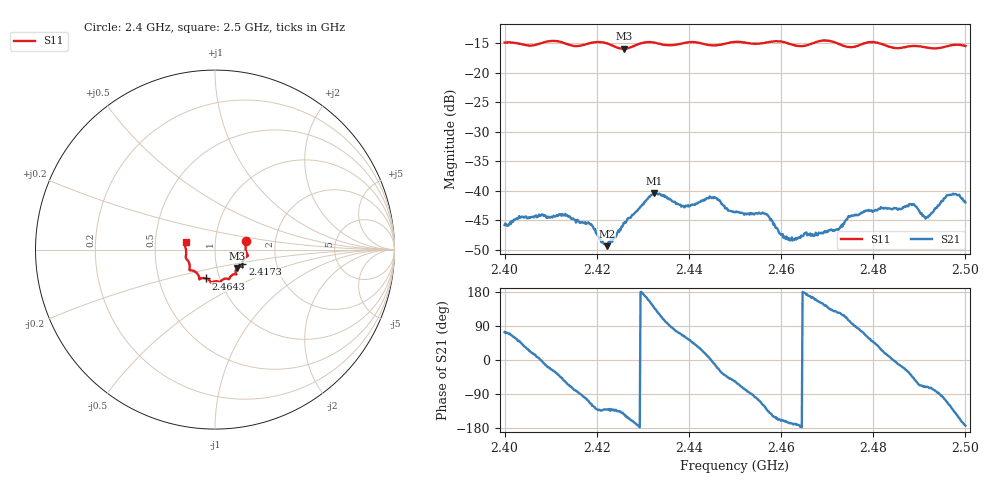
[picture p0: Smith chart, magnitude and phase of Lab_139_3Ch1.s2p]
# Hz S RI R 50
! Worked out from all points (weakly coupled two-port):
!   601 points, 2.4 GHz to 2.5 GHz, reference 50 ohm
!   highest |S21| = -40.44 dB at 2.4325 GHz (marker M1); lowest = -49.4 dB at 2.4222 GHz (marker M2)
!   lowest |S11| = -15.9 dB at 2.4258 GHz (marker M3), VSWR 1.38, Z = 62.3 - j13.3 ohm
!   |S11| at or under -10 dB: start of sweep to end of sweep
!   S12 and S22 are empty: the file has one direction only
!   S11 on the Smith chart (normalised r, x): 2.4 GHz: 1.41, +0.14; 2.4173 GHz: 1.34, -0.23; 2.4643 GHz: 0.86, -0.28; 2.5 GHz: 0.72, +0.06
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2.4e9  0.1737 0.049  0.00146 0.00493  0 0  0 0
2.408e9  0.1776 -0.0207  0.00632 -0.000165  0 0  0 0
2.416667e9  0.1531 -0.0748  -0.00018 -0.00541  0 0  0 0
2.417333e9  0.1524 -0.0821  -0.000845 -0.00525  0 0  0 0
2.422167e9  0.1507 -0.0948  -0.00222 -0.00258  0 0  0 0
2.425833e9  0.1215 -0.1038  -0.00429 -0.00323  0 0  0 0
2.4325e9  0.1167 -0.1375  -0.00695 0.00649  0 0  0 0
2.433333e9  0.113 -0.1366  -0.00522 0.00776  0 0  0 0
2.438833e9  0.0811 -0.1589  0.00326 0.0067  0 0  0 0
2.4455e9  0.0511 -0.1627  0.00873 -0.00153  0 0  0 0
2.45e9  0.0294 -0.1806  0.00371 -0.00551  0 0  0 0
2.4565e9  -0.00995 -0.1794  -0.00357 -0.00534  0 0  0 0
2.461e9  -0.026 -0.1785  -0.00369 -0.00129  0 0  0 0
2.464333e9  -0.0501 -0.1607  -0.00417 -0.000269  0 0  0 0
2.466667e9  -0.076 -0.1596  -0.00408 0.0012  0 0  0 0
2.472e9  -0.0878 -0.1561  -0.00289 0.00373  0 0  0 0
2.4785e9  -0.138 -0.1156  0.00304 0.00613  0 0  0 0
2.483333e9  -0.1407 -0.0902  0.00699 0.0013  0 0  0 0
2.4885e9  -0.1617 -0.0482  0.00553 -0.00538  0 0  0 0
2.4915e9  -0.1612 -0.03  0.00197 -0.00562  0 0  0 0
2.496333e9  -0.168 0.0217  -0.00416 -0.00823  0 0  0 0
2.5e9  -0.1635 0.0419  -0.00793 -0.000943  0 0  0 0
